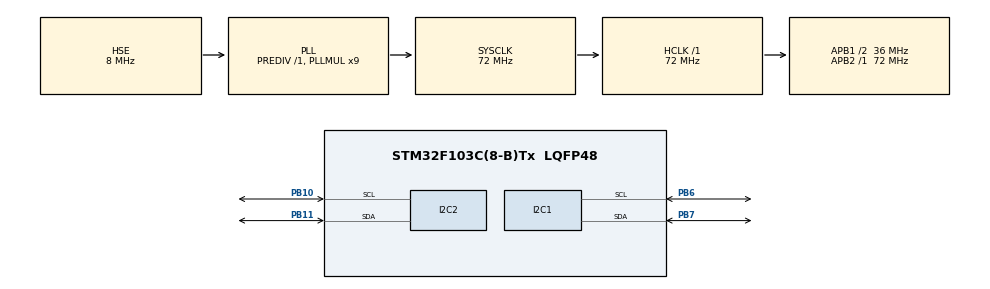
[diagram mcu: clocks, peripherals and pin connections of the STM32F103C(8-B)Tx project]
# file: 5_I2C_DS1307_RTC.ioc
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Mcu.Family=STM32F1
RCC.PLLSourceVirtual=RCC_PLLSOURCE_HSE
PD1-OSC_OUT.Mode=HSE-External-Oscillator
PB10.Mode=I2C
PD0-OSC_IN.Signal=RCC_OSC_IN
RCC.APB1CLKDivider=RCC_HCLK_DIV2
PB11.Signal=I2C2_SDA
RCC.SYSCLKSource=RCC_SYSCLKSOURCE_PLLCLK
ProjectManager.StackSize=0x400
PD1-OSC_OUT.Signal=RCC_OSC_OUT
PA13.Signal=SYS_JTMS-SWDIO
PB11.Mode=I2C
ProjectManager.TargetToolchain=STM32CubeIDE
RCC.HCLKFreq_Value=72000000
RCC.APB2TimFreq_Value=72000000
PB6.Signal=I2C1_SCL
PB6.Mode=I2C
RCC.USBFreq_Value=72000000
RCC.AHBFreq_Value=72000000
PD0-OSC_IN.Mode=HSE-External-Oscillator
PB10.Signal=I2C2_SCL
board=custom
RCC.PLLMUL=RCC_PLL_MUL9
RCC.APB2Freq_Value=72000000
PA14.Mode=Serial_Wire
PB7.Signal=I2C1_SDA
PA13.Mode=Serial_Wire
Mcu.Name=STM32F103C(8-B)Tx
RCC.SYSCLKFreq_VALUE=72000000
Mcu.Package=LQFP48
PB7.Mode=I2C
PA14.Signal=SYS_JTCK-SWCLK
ProjectManager.HeapSize=0x200
NVIC.I2C2_EV_IRQn=true\:0\:0\:false\:false\:true\:true\:true
NVIC.PriorityGroup=NVIC_PRIORITYGROUP_4
RCC.APB1TimFreq_Value=72000000
RCC.APB1Freq_Value=36000000
I2C2.I2C_Mode=I2C_Standard

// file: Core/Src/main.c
/* USER CODE BEGIN Header */
/**
 ******************************************************************************
 * @file           : main.c
 * @brief          : Main program body
 ******************************************************************************
 * @attention
 *
 * <h2><center>&copy; Copyright (c) 2021 STMicroelectronics.
 * All rights reserved.</center></h2>
 *
 * This software component is licensed by ST under BSD 3-Clause license,
 * the "License"; You may not use this file except in compliance with the
 * License. You may obtain a copy of the License at:
 *                        opensource.org/licenses/BSD-3-Clause
 *
 ******************************************************************************
 */
/* USER CODE END Header */
#include "main.h"

/* USER CODE BEGIN Includes */
#include  "i2c-lcd.h"
#include "ds1307_for_stm32_hal.h"
/* USER CODE END Includes */

I2C_HandleTypeDef hi2c1;
I2C_HandleTypeDef hi2c2;

/* USER CODE BEGIN PV */
I2C_HandleTypeDef *ds1307_I2C;
char buff[3];
/* USER CODE END PV */

void SystemClock_Config(void);
static void MX_GPIO_Init(void);
static void MX_I2C2_Init(void);
static void MX_I2C1_Init(void);

int main(void)
{

  /* MCU Configuration--------------------------------------------------------*/

  /* Reset of all peripherals, Initializes the Flash interface and the Systick. */
  HAL_Init();

  /* Configure the system clock */
  SystemClock_Config();

  /* Initialize all configured peripherals */
  MX_GPIO_Init();
  MX_I2C2_Init();
  MX_I2C1_Init();
  /* USER CODE BEGIN 2 */
	lcd_init();
	DS1307_Init(&hi2c2);
	HAL_Delay(10);

	/*TIME CONFIGURATIONS*/
		DS1307_SetTimeZone(+7, 00);
		DS1307_SetDate(10);
		DS1307_SetMonth(3);
		DS1307_SetYear(2021);
		DS1307_SetDayOfWeek(2);
		DS1307_SetHour(14);
		DS1307_SetMinute(30);
		DS1307_SetSecond(30);

  /* USER CODE END 2 */

  /* Infinite loop */
	while (1) {

    /* USER CODE BEGIN 3 */
		lcd_put_cur(0, 0);
		lcd_send_string("TIME: ");
		lcd_put_cur(1, 0);
		lcd_send_string("DATE: ");
		uint8_t date = DS1307_GetDate();
		uint8_t month = DS1307_GetMonth();
		uint16_t year = DS1307_GetYear();
		uint8_t dow = DS1307_GetDayOfWeek();
		uint8_t hour = DS1307_GetHour();
		uint8_t minute = DS1307_GetMinute();
		uint8_t second = DS1307_GetSecond();
		int8_t zone_hr = DS1307_GetTimeZoneHour();
		uint8_t zone_min = DS1307_GetTimeZoneMin();

		uint8_t sd = snprintf(NULL, 0, "%d", second);
		uint8_t hr = snprintf(NULL, 0, "%d", hour);
		uint8_t me = snprintf(NULL, 0, "%d", minute);

		uint8_t de = snprintf(NULL, 0, "%d", date);
		uint8_t mh = snprintf(NULL, 0, "%d", month);
		uint8_t yr = snprintf(NULL, 0, "%d", year);

		char *ptr = malloc(sd + hr + me + 3);
		snprintf(ptr, sd + hr + me + 3, "%d:%d:%d", hour, minute, second);
		lcd_put_cur(0, 5);
		lcd_send_string(ptr);
		free(ptr);

		*ptr = malloc(de + mh + yr + 3);//size +1
		snprintf(ptr, de + mh + yr + 3, "%d-%d-%d", date, month, year);
		lcd_put_cur(1, 5);
		lcd_send_string(ptr);
		free(ptr);

		HAL_Delay(250);
		lcd_clear();
	}
  /* USER CODE END 3 */
}

void SystemClock_Config(void)
{
  RCC_OscInitTypeDef RCC_OscInitStruct = {0};
  RCC_ClkInitTypeDef RCC_ClkInitStruct = {0};

  /** Initializes the RCC Oscillators according to the specified parameters
  * in the RCC_OscInitTypeDef structure.
  */
  RCC_OscInitStruct.OscillatorType = RCC_OSCILLATORTYPE_HSE;
  RCC_OscInitStruct.HSEState = RCC_HSE_ON;
  RCC_OscInitStruct.HSEPredivValue = RCC_HSE_PREDIV_DIV1;
  RCC_OscInitStruct.HSIState = RCC_HSI_ON;
  RCC_OscInitStruct.PLL.PLLState = RCC_PLL_ON;
  RCC_OscInitStruct.PLL.PLLSource = RCC_PLLSOURCE_HSE;
  RCC_OscInitStruct.PLL.PLLMUL = RCC_PLL_MUL9;
  if (HAL_RCC_OscConfig(&RCC_OscInitStruct) != HAL_OK)
  {
    Error_Handler();
  }
  /** Initializes the CPU, AHB and APB buses clocks
  */
  RCC_ClkInitStruct.ClockType = RCC_CLOCKTYPE_HCLK|RCC_CLOCKTYPE_SYSCLK
                              |RCC_CLOCKTYPE_PCLK1|RCC_CLOCKTYPE_PCLK2;
  RCC_ClkInitStruct.SYSCLKSource = RCC_SYSCLKSOURCE_PLLCLK;
  RCC_ClkInitStruct.AHBCLKDivider = RCC_SYSCLK_DIV1;
  RCC_ClkInitStruct.APB1CLKDivider = RCC_HCLK_DIV2;
  RCC_ClkInitStruct.APB2CLKDivider = RCC_HCLK_DIV1;

  if (HAL_RCC_ClockConfig(&RCC_ClkInitStruct, FLASH_LATENCY_2) != HAL_OK)
  {
    Error_Handler();
  }
}

static void MX_I2C1_Init(void)
{

  hi2c1.Instance = I2C1;
  hi2c1.Init.ClockSpeed = 100000;
  hi2c1.Init.DutyCycle = I2C_DUTYCYCLE_2;
  hi2c1.Init.OwnAddress1 = 0;
  hi2c1.Init.AddressingMode = I2C_ADDRESSINGMODE_7BIT;
  hi2c1.Init.DualAddressMode = I2C_DUALADDRESS_DISABLE;
  hi2c1.Init.OwnAddress2 = 0;
  hi2c1.Init.GeneralCallMode = I2C_GENERALCALL_DISABLE;
  hi2c1.Init.NoStretchMode = I2C_NOSTRETCH_DISABLE;
  if (HAL_I2C_Init(&hi2c1) != HAL_OK)
  {
    Error_Handler();
  }

}

static void MX_I2C2_Init(void)
{

  hi2c2.Instance = I2C2;
  hi2c2.Init.ClockSpeed = 100000;
  hi2c2.Init.DutyCycle = I2C_DUTYCYCLE_2;
  hi2c2.Init.OwnAddress1 = 0;
  hi2c2.Init.AddressingMode = I2C_ADDRESSINGMODE_7BIT;
  hi2c2.Init.DualAddressMode = I2C_DUALADDRESS_DISABLE;
  hi2c2.Init.OwnAddress2 = 0;
  hi2c2.Init.GeneralCallMode = I2C_GENERALCALL_DISABLE;
  hi2c2.Init.NoStretchMode = I2C_NOSTRETCH_DISABLE;
  if (HAL_I2C_Init(&hi2c2) != HAL_OK)
  {
    Error_Handler();
  }

}

static void MX_GPIO_Init(void)
{

  /* GPIO Ports Clock Enable */
  __HAL_RCC_GPIOD_CLK_ENABLE();
  __HAL_RCC_GPIOB_CLK_ENABLE();
  __HAL_RCC_GPIOA_CLK_ENABLE();

}

void Error_Handler(void)
{
	__disable_irq();
	while (1) {
	}
}

/************************ (C) COPYRIGHT STMicroelectronics *****END OF FILE****/
